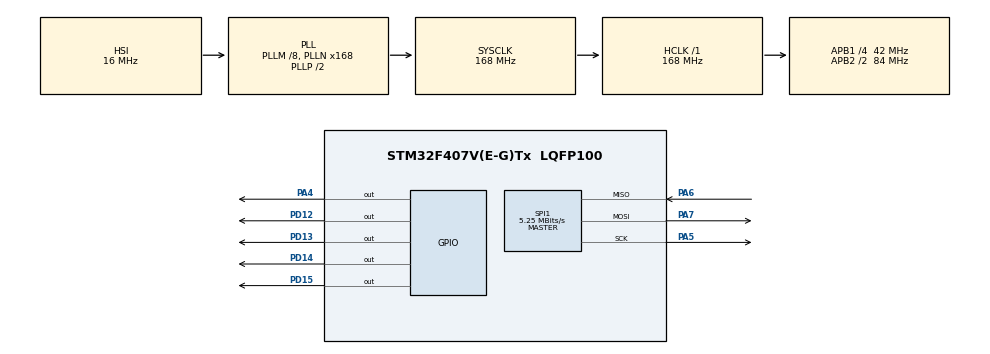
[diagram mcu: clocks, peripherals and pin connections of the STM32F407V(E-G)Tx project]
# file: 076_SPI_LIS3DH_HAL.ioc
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Mcu.Family=STM32F4
Mcu.Name=STM32F407V(E-G)Tx
Mcu.Package=LQFP100
NVIC.PriorityGroup=NVIC_PRIORITYGROUP_0
PA4.PinState=GPIO_PIN_SET
PA4.Signal=GPIO_Output
PA5.Mode=Full_Duplex_Master
PA5.Signal=SPI1_SCK
PA6.Mode=Full_Duplex_Master
PA6.Signal=SPI1_MISO
PA7.Mode=Full_Duplex_Master
PA7.Signal=SPI1_MOSI
PD12.GPIO_Speed=GPIO_SPEED_FREQ_VERY_HIGH
PD12.Signal=GPIO_Output
PD13.GPIO_Speed=GPIO_SPEED_FREQ_VERY_HIGH
PD13.Signal=GPIO_Output
PD14.GPIO_Speed=GPIO_SPEED_FREQ_VERY_HIGH
PD14.Signal=GPIO_Output
PD15.GPIO_Speed=GPIO_SPEED_FREQ_VERY_HIGH
PD15.Signal=GPIO_Output
PH0-OSC_IN.Mode=HSE-External-Oscillator
PH0-OSC_IN.Signal=RCC_OSC_IN
PH1-OSC_OUT.Mode=HSE-External-Oscillator
PH1-OSC_OUT.Signal=RCC_OSC_OUT
ProjectManager.HeapSize=0x200
ProjectManager.StackSize=0x400
ProjectManager.TargetToolchain=STM32CubeIDE
RCC.48MHZClocksFreq_Value=48000000
RCC.AHBFreq_Value=168000000
RCC.APB1CLKDivider=RCC_HCLK_DIV4
RCC.APB1Freq_Value=42000000
RCC.APB1TimFreq_Value=84000000
RCC.APB2CLKDivider=RCC_HCLK_DIV2
RCC.APB2Freq_Value=84000000
RCC.APB2TimFreq_Value=168000000
RCC.CortexFreq_Value=168000000
RCC.HCLKFreq_Value=168000000
RCC.HSE_VALUE=8000000
RCC.HSI_VALUE=16000000
RCC.LSE_VALUE=32768
RCC.PLLM=8
RCC.PLLN=168
RCC.PLLQ=7
RCC.SYSCLKFreq_VALUE=168000000
RCC.SYSCLKSource=RCC_SYSCLKSOURCE_PLLCLK
RCC.VCOOutputFreq_Value=336000000
SPI1.BaudRatePrescaler=SPI_BAUDRATEPRESCALER_16
SPI1.CLKPhase=SPI_PHASE_2EDGE
SPI1.CLKPolarity=SPI_POLARITY_HIGH
SPI1.CalculateBaudRate=5.25 MBits/s
SPI1.Direction=SPI_DIRECTION_2LINES
SPI1.Mode=SPI_MODE_MASTER
SPI1.VirtualType=VM_MASTER
board=STM32F407G-DISC1

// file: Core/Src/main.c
/* USER CODE BEGIN Header */
/**
  ******************************************************************************
  * @file           : main.c
  * @brief          : Main program body
  ******************************************************************************
  * @attention
  *
  * Copyright (c) 2024 STMicroelectronics.
  * All rights reserved.
  *
  * This software is licensed under terms that can be found in the LICENSE file
  * in the root directory of this software component.
  * If no LICENSE file comes with this software, it is provided AS-IS.
  *
  ******************************************************************************
  */
/* USER CODE END Header */
#include "main.h"

SPI_HandleTypeDef hspi1;

void SystemClock_Config(void);
static void MX_GPIO_Init(void);
static void MX_SPI1_Init(void);
/* USER CODE BEGIN PFP */

uint8_t buffer = 0;
uint8_t g_data[1];

uint8_t x, y, z;
uint8_t xAdr = 0x29;
uint8_t yAdr = 0x2b;
uint8_t zAdr = 0x2d;

void SPI_Write(uint8_t addr, uint8_t data)
{
	uint8_t tx_data[2];
	tx_data[0] = addr;
	tx_data[1] = data;

	HAL_GPIO_WritePin(GPIOA, GPIO_PIN_4, GPIO_PIN_RESET);
	HAL_SPI_Transmit(&hspi1, tx_data, 2, 100);
	HAL_GPIO_WritePin(GPIOA, GPIO_PIN_4, GPIO_PIN_SET);
}

uint8_t SPI_Read(uint8_t addr)
{
	uint8_t rx_data[1];
	rx_data[0] = addr | 0x80; //Reading prosses

	HAL_GPIO_WritePin(GPIOA, GPIO_PIN_4, GPIO_PIN_RESET);
	HAL_SPI_Transmit(&hspi1, rx_data, 1, 100);
	HAL_SPI_Receive(&hspi1, g_data, 1, 100);
	HAL_GPIO_WritePin(GPIOA, GPIO_PIN_4, GPIO_PIN_SET);

	return g_data[0];
}
/* USER CODE END PFP */

int main(void)
{

  /* MCU Configuration--------------------------------------------------------*/

  /* Reset of all peripherals, Initializes the Flash interface and the Systick. */
  HAL_Init();

  /* Configure the system clock */
  SystemClock_Config();

  /* Initialize all configured peripherals */
  MX_GPIO_Init();
  MX_SPI1_Init();

  /* Infinite loop */
  /* USER CODE BEGIN WHILE */

  SPI_Write(0x20, 0x67); //CTRL_REG1
  buffer = SPI_Read(0x20);

  while (1)
  {
    /* USER CODE END WHILE */

    /* USER CODE BEGIN 3 */
	x = SPI_Read(xAdr);
	y = SPI_Read(yAdr);
	z = SPI_Read(zAdr);
  }
  /* USER CODE END 3 */
}

void SystemClock_Config(void)
{
  RCC_OscInitTypeDef RCC_OscInitStruct = {0};
  RCC_ClkInitTypeDef RCC_ClkInitStruct = {0};

  /** Configure the main internal regulator output voltage
  */
  __HAL_RCC_PWR_CLK_ENABLE();
  __HAL_PWR_VOLTAGESCALING_CONFIG(PWR_REGULATOR_VOLTAGE_SCALE1);

  /** Initializes the RCC Oscillators according to the specified parameters
  * in the RCC_OscInitTypeDef structure.
  */
  RCC_OscInitStruct.OscillatorType = RCC_OSCILLATORTYPE_HSI;
  RCC_OscInitStruct.HSIState = RCC_HSI_ON;
  RCC_OscInitStruct.HSICalibrationValue = RCC_HSICALIBRATION_DEFAULT;
  RCC_OscInitStruct.PLL.PLLState = RCC_PLL_ON;
  RCC_OscInitStruct.PLL.PLLSource = RCC_PLLSOURCE_HSI;
  RCC_OscInitStruct.PLL.PLLM = 8;
  RCC_OscInitStruct.PLL.PLLN = 168;
  RCC_OscInitStruct.PLL.PLLP = RCC_PLLP_DIV2;
  RCC_OscInitStruct.PLL.PLLQ = 7;
  if (HAL_RCC_OscConfig(&RCC_OscInitStruct) != HAL_OK)
  {
    Error_Handler();
  }

  /** Initializes the CPU, AHB and APB buses clocks
  */
  RCC_ClkInitStruct.ClockType = RCC_CLOCKTYPE_HCLK|RCC_CLOCKTYPE_SYSCLK
                              |RCC_CLOCKTYPE_PCLK1|RCC_CLOCKTYPE_PCLK2;
  RCC_ClkInitStruct.SYSCLKSource = RCC_SYSCLKSOURCE_PLLCLK;
  RCC_ClkInitStruct.AHBCLKDivider = RCC_SYSCLK_DIV1;
  RCC_ClkInitStruct.APB1CLKDivider = RCC_HCLK_DIV4;
  RCC_ClkInitStruct.APB2CLKDivider = RCC_HCLK_DIV2;

  if (HAL_RCC_ClockConfig(&RCC_ClkInitStruct, FLASH_LATENCY_5) != HAL_OK)
  {
    Error_Handler();
  }
}

static void MX_SPI1_Init(void)
{

  /* SPI1 parameter configuration*/
  hspi1.Instance = SPI1;
  hspi1.Init.Mode = SPI_MODE_MASTER;
  hspi1.Init.Direction = SPI_DIRECTION_2LINES;
  hspi1.Init.DataSize = SPI_DATASIZE_8BIT;
  hspi1.Init.CLKPolarity = SPI_POLARITY_HIGH;
  hspi1.Init.CLKPhase = SPI_PHASE_2EDGE;
  hspi1.Init.NSS = SPI_NSS_SOFT;
  hspi1.Init.BaudRatePrescaler = SPI_BAUDRATEPRESCALER_16;
  hspi1.Init.FirstBit = SPI_FIRSTBIT_MSB;
  hspi1.Init.TIMode = SPI_TIMODE_DISABLE;
  hspi1.Init.CRCCalculation = SPI_CRCCALCULATION_DISABLE;
  hspi1.Init.CRCPolynomial = 10;
  if (HAL_SPI_Init(&hspi1) != HAL_OK)
  {
    Error_Handler();
  }

}

static void MX_GPIO_Init(void)
{
  GPIO_InitTypeDef GPIO_InitStruct = {0};

  /* GPIO Ports Clock Enable */
  __HAL_RCC_GPIOH_CLK_ENABLE();
  __HAL_RCC_GPIOA_CLK_ENABLE();
  __HAL_RCC_GPIOD_CLK_ENABLE();

  /*Configure GPIO pin Output Level */
  HAL_GPIO_WritePin(GPIOA, GPIO_PIN_4, GPIO_PIN_SET);

  /*Configure GPIO pin Output Level */
  HAL_GPIO_WritePin(GPIOD, GPIO_PIN_12|GPIO_PIN_13|GPIO_PIN_14|GPIO_PIN_15, GPIO_PIN_RESET);

  /*Configure GPIO pin : PA4 */
  GPIO_InitStruct.Pin = GPIO_PIN_4;
  GPIO_InitStruct.Mode = GPIO_MODE_OUTPUT_PP;
  GPIO_InitStruct.Pull = GPIO_NOPULL;
  GPIO_InitStruct.Speed = GPIO_SPEED_FREQ_LOW;
  HAL_GPIO_Init(GPIOA, &GPIO_InitStruct);

  /*Configure GPIO pins : PD12 PD13 PD14 PD15 */
  GPIO_InitStruct.Pin = GPIO_PIN_12|GPIO_PIN_13|GPIO_PIN_14|GPIO_PIN_15;
  GPIO_InitStruct.Mode = GPIO_MODE_OUTPUT_PP;
  GPIO_InitStruct.Pull = GPIO_NOPULL;
  GPIO_InitStruct.Speed = GPIO_SPEED_FREQ_VERY_HIGH;
  HAL_GPIO_Init(GPIOD, &GPIO_InitStruct);

}

void Error_Handler(void)
{
  __disable_irq();
  while (1)
  {
  }
}
